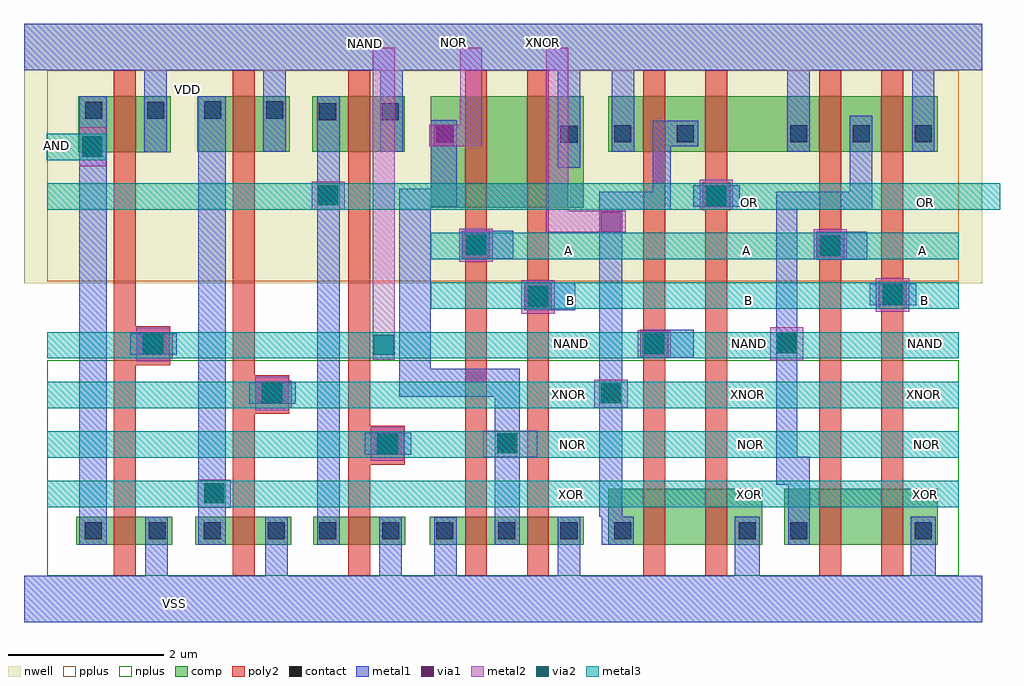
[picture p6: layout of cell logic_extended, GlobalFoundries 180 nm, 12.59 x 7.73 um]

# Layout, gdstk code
import gdstk
lib = gdstk.Library(unit=1e-6, precision=5e-09)
def R(c, l, rs):  # rectangles x0, y0, x1, y1
    for r in rs: c.add(gdstk.rectangle(r[:2], r[2:], *l))
nwell = (21, 0)
comp = (22, 0)
poly2 = (30, 0)
pplus = (31, 0)
nplus = (32, 0)
contact = (33, 0)
metal1 = (34, 0)
via1 = (35, 0)
metal2 = (36, 0)
via2 = (38, 0)
metal3 = (42, 0)

logic_extended = lib.new_cell('logic_extended')
R(logic_extended, nwell, [(0,4.075,12.36,7.425)])
R(logic_extended, comp, [(0.675,0.7,1.915,1.06), (2.21,0.705,3.45,1.065), (3.73,0.705,4.92,1.065), (5.235,0.705,7.22,1.065), (7.535,0.705,9.52,1.425), (9.805,0.705,11.79,1.425), (5.245,5.05,7.22,6.49), (0.7,5.765,1.89,6.485), (2.235,5.77,3.425,6.49), (3.72,5.77,4.91,6.49), (7.535,5.77,9.805,6.49), (9.805,5.77,11.79,6.49)])
R(logic_extended, poly2, [(1.16,0.3,1.44,6.82), (2.695,0.3,2.975,6.825), (4.185,0.3,4.465,6.825), (5.69,0.3,5.97,6.825), (6.49,0.3,6.77,6.825), (7.99,0.3,8.27,6.825), (8.79,0.3,9.07,6.825), (10.26,0.3,10.54,6.825), (11.06,0.3,11.34,6.825), (4.465,1.735,4.91,2.235), (2.975,2.39,3.42,2.89), (3.01,2.47,3.455,2.815), (1.44,3.02,1.885,3.52), (1.475,3.1,1.92,3.445), (7.95,3.115,8.31,3.475), (6.45,3.725,6.81,4.085), (11.025,3.75,11.385,4.11), (11.025,3.75,11.385,4.11), (10.22,4.38,10.58,4.74), (5.65,4.39,6.01,4.75), (8.75,5.02,9.11,5.38)])
R(logic_extended, pplus, [(0.3,4.1,12.06,6.825)])
R(logic_extended, nplus, [(0.3,0.3,12.06,3.085)])
R(logic_extended, contact, [(0.785,0.77,1.005,0.99), (1.61,0.77,1.83,0.99), (2.32,0.775,2.54,0.995), (3.145,0.775,3.365,0.995), (3.81,0.775,4.03,0.995), (4.62,0.775,4.84,0.995), (5.315,0.775,5.535,0.995), (6.12,0.775,6.34,0.995), (6.92,0.775,7.14,0.995), (7.615,0.775,7.835,0.995), (9.22,0.775,9.44,0.995), (9.885,0.775,10.105,0.995), (11.49,0.775,11.71,0.995), (4.58,1.895,4.8,2.115), (4.58,1.895,4.8,2.115), (3.09,2.55,3.31,2.77), (3.09,2.55,3.31,2.77), (1.555,3.18,1.775,3.4), (1.555,3.18,1.775,3.4), (8.02,3.185,8.24,3.405), (6.52,3.795,6.74,4.015), (11.095,3.82,11.315,4.04), (11.095,3.82,11.315,4.04), (10.29,4.45,10.51,4.67), (5.72,4.46,5.94,4.68), (8.82,5.09,9.04,5.31), (5.315,5.89,5.535,6.11), (6.92,5.89,7.14,6.11), (7.615,5.895,7.835,6.115), (8.42,5.895,8.64,6.115), (9.885,5.895,10.105,6.115), (10.69,5.895,10.91,6.115), (11.49,5.895,11.71,6.115), (3.805,6.18,4.025,6.4), (4.615,6.18,4.835,6.4), (0.79,6.195,1.01,6.415), (1.59,6.195,1.81,6.415), (2.325,6.2,2.545,6.42), (3.125,6.2,3.345,6.42)])
R(logic_extended, metal1, [(0,-0.3,12.36,0.3), (1.565,0.3,1.855,1.06), (3.11,0.3,3.4,1.06), (4.58,0.3,4.87,1.06), (5.29,0.3,5.58,1.055), (6.885,0.3,7.175,1.065), (9.17,0.3,9.49,1.065), (11.44,0.3,11.76,1.06), (0.715,0.7,1.065,6.485), (2.25,0.705,2.6,6.49), (3.78,0.705,4.07,6.49), (6.07,0.705,6.395,2.975), (7.455,0.705,7.865,1.065), (9.86,0.705,10.135,1.835), (7.42,1.065,7.72,5.255), (9.705,1.475,9.975,5.255), (9.725,1.475,10.135,1.835), (4.395,1.865,4.995,2.145), (4.395,1.865,4.995,2.145), (2.905,2.52,3.505,2.8), (2.905,2.52,3.505,2.8), (4.84,2.61,5.245,5.295), (5.245,2.61,6.395,2.975), (7.98,3.115,8.64,3.475), (1.37,3.15,1.97,3.43), (1.37,3.15,1.97,3.43), (6.45,3.725,7.11,4.085), (10.91,3.79,11.51,4.07), (10.91,3.79,11.51,4.07), (10.22,4.38,10.88,4.74), (5.65,4.39,6.31,4.75), (7.455,5.025,8.34,5.255), (8.11,5.025,8.34,5.92), (9.725,5.025,10.945,5.255), (10.655,5.03,10.945,6.235), (4.84,5.06,5.585,5.295), (8.63,5.06,9.23,5.34), (5.245,5.295,5.585,5.86), (6.885,5.565,7.175,6.905), (1.55,5.765,1.84,6.91), (3.085,5.77,3.375,6.915), (4.595,5.77,4.885,6.91), (7.58,5.77,7.87,6.905), (9.845,5.77,10.135,6.905), (11.455,5.77,11.745,6.91), (8.11,5.84,8.7,6.17), (5.245,5.86,5.585,6.18), (0,6.825,12.36,7.425)])
R(logic_extended, via1, [(2.325,1.235,2.585,1.495), (4.56,1.875,4.82,2.135), (4.56,1.875,4.82,2.135), (6.105,1.88,6.365,2.14), (7.44,2.525,7.7,2.785), (3.07,2.53,3.33,2.79), (3.07,2.53,3.33,2.79), (1.535,3.16,1.795,3.42), (1.535,3.16,1.795,3.42), (8,3.165,8.26,3.425), (9.71,3.17,9.97,3.43), (6.5,3.775,6.76,4.035), (11.075,3.8,11.335,4.06), (11.075,3.8,11.335,4.06), (10.27,4.43,10.53,4.69), (5.7,4.44,5.96,4.7), (7.44,4.74,7.7,5), (8.8,5.07,9.06,5.33), (3.795,5.08,4.055,5.34), (0.75,5.71,1.01,5.97), (5.285,5.85,5.545,6.11)])
R(logic_extended, metal2, [(2.24,1.18,2.67,1.54), (4.475,1.785,4.905,2.215), (4.475,1.785,4.905,2.215), (5.925,1.83,6.62,2.175), (2.985,2.44,3.415,2.87), (2.985,2.44,3.415,2.87), (7.355,2.47,7.785,2.83), (1.45,3.07,1.88,3.5), (1.45,3.07,1.88,3.5), (9.625,3.08,10.055,3.51), (7.915,3.11,8.345,3.47), (6.415,3.685,6.845,4.115), (10.99,3.71,11.42,4.14), (10.99,3.71,11.42,4.14), (5.615,4.35,6.045,4.78), (10.185,4.385,10.615,4.77), (3.71,5.025,4.14,5.385), (8.715,5.025,9.145,5.41), (0.71,5.585,1.06,6.09)])
R(logic_extended, via2, [(2.325,1.235,2.585,1.495), (4.56,1.875,4.82,2.135), (4.56,1.875,4.82,2.135), (6.105,1.88,6.365,2.14), (7.44,2.525,7.7,2.785), (3.07,2.53,3.33,2.79), (3.07,2.53,3.33,2.79), (4.51,3.15,4.77,3.41), (1.535,3.16,1.795,3.42), (1.535,3.16,1.795,3.42), (8,3.165,8.26,3.425), (9.71,3.17,9.97,3.43), (6.5,3.775,6.76,4.035), (11.075,3.8,11.335,4.06), (11.075,3.8,11.335,4.06), (10.27,4.43,10.53,4.69), (5.7,4.44,5.96,4.7), (8.8,5.07,9.06,5.33), (3.795,5.08,4.055,5.34), (0.75,5.71,1.01,5.97)])
R(logic_extended, metal3, [(0.295,5.665,1.06,6.005)])
logic_extended.add(gdstk.FlexPath([(4.64,3.28),(4.64,7.115)], 0.28, ends=(0.19, 0), simple_path=True, layer=36, datatype=0))  # metal2
logic_extended.add(gdstk.FlexPath([(5.415,5.98),(5.765,5.98),(5.765,7.115)], 0.28, ends=(0.19, 0), simple_path=True, layer=36, datatype=0))  # metal2
logic_extended.add(gdstk.FlexPath([(7.57,4.87),(6.88,4.87),(6.88,7.115)], 0.28, ends=(0.19, 0), simple_path=True, layer=36, datatype=0))  # metal2
logic_extended.add(gdstk.FlexPath([(11.84,1.355),(11.84,1.355)], 0.26, ends="extended", simple_path=True, layer=38, datatype=0))  # via2
logic_extended.add(gdstk.FlexPath([(0.3,5.195),(12.4,5.195)], 0.34, ends=(0, 0.19), simple_path=True, layer=42, datatype=0))  # metal3
logic_extended.add(gdstk.FlexPath([(0.3,1.355),(12.06,1.355)], 0.34, ends="flush", simple_path=True, layer=42, datatype=0))  # metal3
logic_extended.add(gdstk.FlexPath([(0.3,1.995),(12.06,1.995)], 0.34, ends="flush", simple_path=True, layer=42, datatype=0))  # metal3
logic_extended.add(gdstk.FlexPath([(0.3,2.635),(12.06,2.635)], 0.34, ends="flush", simple_path=True, layer=42, datatype=0))  # metal3
logic_extended.add(gdstk.FlexPath([(0.3,3.275),(12.06,3.275)], 0.34, ends="flush", simple_path=True, layer=42, datatype=0))  # metal3
logic_extended.add(gdstk.FlexPath([(5.245,3.915),(12.06,3.915)], 0.34, ends="flush", simple_path=True, layer=42, datatype=0))  # metal3
logic_extended.add(gdstk.FlexPath([(5.245,4.555),(12.06,4.555)], 0.34, ends="flush", simple_path=True, layer=42, datatype=0))  # metal3
logic_extended.add(gdstk.Label('AND', (0.415,5.85), layer=42, texttype=10))
logic_extended.add(gdstk.Label('OR', (11.635,5.115), layer=42, texttype=10))
logic_extended.add(gdstk.Label('A', (11.59,4.5), layer=42, texttype=10))
logic_extended.add(gdstk.Label('NAND', (11.63,3.3), layer=42, texttype=10))
logic_extended.add(gdstk.Label('XNOR', (11.6,2.64), layer=42, texttype=10))
logic_extended.add(gdstk.Label('NOR', (11.645,1.99), layer=42, texttype=10))
logic_extended.add(gdstk.Label('XOR', (11.635,1.35), layer=42, texttype=10))
logic_extended.add(gdstk.Label('OR', (9.365,5.115), layer=42, texttype=10))
logic_extended.add(gdstk.Label('A', (9.32,4.5), layer=42, texttype=10))
logic_extended.add(gdstk.Label('B', (9.35,3.85), layer=42, texttype=10))
logic_extended.add(gdstk.Label('NAND', (9.36,3.3), layer=42, texttype=10))
logic_extended.add(gdstk.Label('XNOR', (9.33,2.64), layer=42, texttype=10))
logic_extended.add(gdstk.Label('NOR', (9.375,1.99), layer=42, texttype=10))
logic_extended.add(gdstk.Label('XOR', (9.365,1.35), layer=42, texttype=10))
logic_extended.add(gdstk.Label('A', (7.02,4.5), layer=42, texttype=10))
logic_extended.add(gdstk.Label('B', (7.05,3.85), layer=42, texttype=10))
logic_extended.add(gdstk.Label('NAND', (7.06,3.3), layer=42, texttype=10))
logic_extended.add(gdstk.Label('XNOR', (7.03,2.64), layer=42, texttype=10))
logic_extended.add(gdstk.Label('NOR', (7.075,1.99), layer=42, texttype=10))
logic_extended.add(gdstk.Label('XOR', (7.065,1.35), layer=42, texttype=10))
logic_extended.add(gdstk.Label('B', (11.62,3.85), layer=42, texttype=10))
logic_extended.add(gdstk.Label('VSS', (1.935,-0.05), layer=34, texttype=10))
logic_extended.add(gdstk.Label('VDD', (2.115,6.575), layer=34, texttype=10))
logic_extended.add(gdstk.Label('NAND', (4.405,7.17), layer=36, texttype=10))
logic_extended.add(gdstk.Label('XNOR', (6.69,7.185), layer=36, texttype=10))
logic_extended.add(gdstk.Label('NOR', (5.535,7.185), layer=36, texttype=10))

lib.write_gds('logic_extended.gds')
